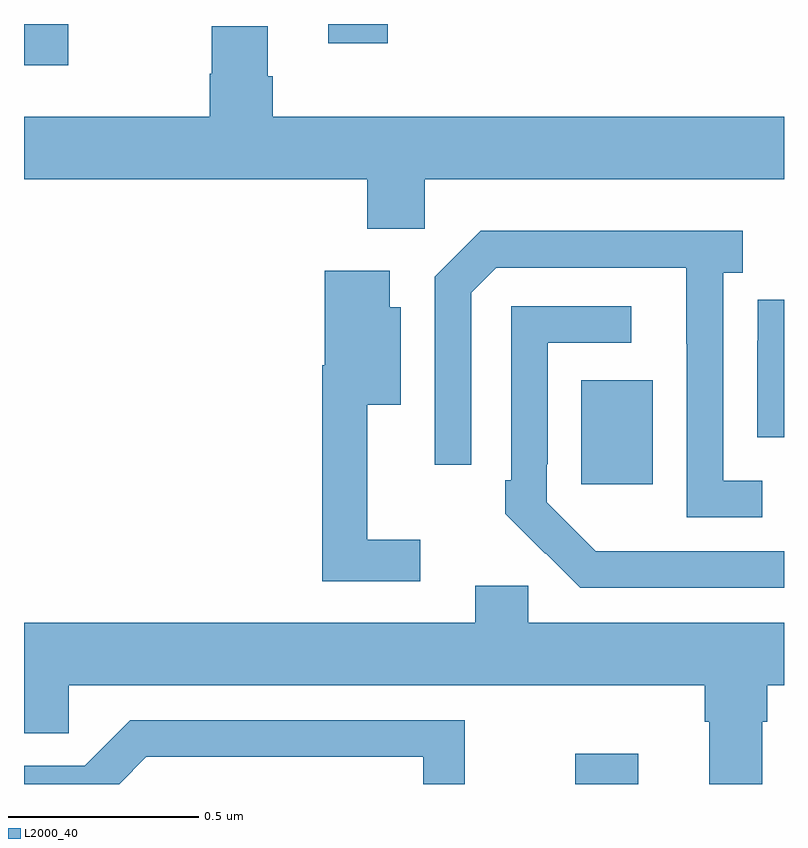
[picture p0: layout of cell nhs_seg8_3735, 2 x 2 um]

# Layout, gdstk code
import gdstk
lib = gdstk.Library(unit=1e-6, precision=1e-09)
def R(c, l, rs):  # rectangles x0, y0, x1, y1
    for r in rs: c.add(gdstk.rectangle(r[:2], r[2:], *l))
def P(c, l, *ps):  # polygons
    for p in ps: c.add(gdstk.Polygon(p, *l))
L2000_40 = (2000, 40)

nhs_seg8_3735 = lib.new_cell('nhs_seg8_3735')
R(nhs_seg8_3735, L2000_40, [(162.451,1122.9,162.616,1122.979), (162.467,1123.689,162.655,1123.963), (161,1124.792,161.116,1124.9), (161.801,1124.85,161.957,1124.9)])
P(nhs_seg8_3735, L2000_40, [(162.054,1124.492),(163,1124.492),(163,1124.656),(161.654,1124.656),(161.654,1124.762),(161.641,1124.762),(161.641,1124.894),(161.494,1124.894),(161.494,1124.769),(161.489,1124.769),(161.489,1124.656),(161,1124.656),(161,1124.492),(161.903,1124.492),(161.903,1124.361),(162.054,1124.361)],
  [(162.943,1123.698),(162.84,1123.698),(162.84,1124.246),(162.892,1124.246),(162.892,1124.356),(162.202,1124.356),(162.081,1124.235),(162.081,1123.74),(162.177,1123.74),(162.177,1124.193),(162.243,1124.259),(162.743,1124.259),(162.743,1124.059),(162.744,1124.059),(162.744,1123.602),(162.943,1123.602)],
  [(162.043,1123.543),(161.903,1123.543),(161.903,1123.898),(161.992,1123.898),(161.992,1124.155),(161.962,1124.155),(161.962,1124.251),(161.792,1124.251),(161.792,1124.002),(161.785,1124.002),(161.785,1123.434),(162.043,1123.434)],
  [(163,1124.175),(162.931,1124.175),(162.931,1124.066),(162.93,1124.066),(162.93,1123.812),(163,1123.812)],
  [(163,1123.512),(162.607,1123.512),(162.607,1123.513),(162.504,1123.513),(162.375,1123.641),(162.375,1123.741),(162.378,1123.741),(162.378,1124.061),(162.598,1124.061),(162.598,1124.157),(162.282,1124.157),(162.282,1123.699),(162.267,1123.699),(162.267,1123.611),(162.372,1123.506),(162.373,1123.507),(162.464,1123.416),(163,1123.416)],
  [(162.943,1123.064),(162.956,1123.064),(162.956,1123.16),(163,1123.16),(163,1123.324),(162.327,1123.324),(162.327,1123.422),(162.188,1123.422),(162.188,1123.324),(161,1123.324),(161,1123.033),(161.118,1123.033),(161.118,1123.16),(162.791,1123.16),(162.791,1123.064),(162.803,1123.064),(162.803,1122.9),(162.943,1122.9)],
  [(161.322,1122.972),(162.051,1122.972),(162.051,1122.9),(162.16,1122.9),(162.16,1123.068),(161.28,1123.068),(161.16,1122.948),(161,1122.948),(161,1122.9),(161.25,1122.9)])

lib.write_gds('nhs_seg8_3735.gds')
